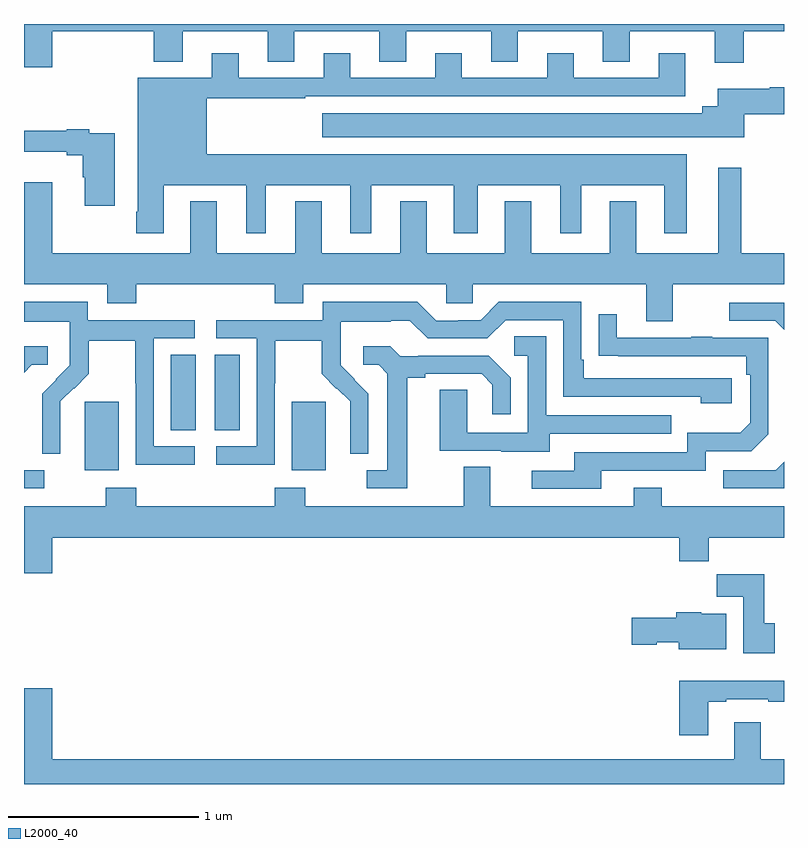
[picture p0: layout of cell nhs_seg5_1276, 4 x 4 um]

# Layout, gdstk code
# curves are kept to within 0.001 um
import gdstk
lib = gdstk.Library(unit=1e-6, precision=1e-09)
def R(c, l, rs):  # rectangles x0, y0, x1, y1
    for r in rs: c.add(gdstk.rectangle(r[:2], r[2:], *l))
def P(c, l, *ps):  # polygons
    for p in ps: c.add(gdstk.Polygon(p, *l))
L2000_40 = (2000, 40)

nhs_seg5_1276 = lib.new_cell('nhs_seg5_1276')
R(nhs_seg5_1276, L2000_40, [(189,854.355,189.106,854.451), (189.32,854.45,189.499,854.811), (190.409,854.45,190.588,854.811), (189.773,854.662,189.904,855.059), (190.004,854.662,190.135,855.059)])
P(nhs_seg5_1276, L2000_40, [(189,856.572),(189.148,856.572),(189.148,856.76),(189.683,856.76),(189.683,856.601),(189.835,856.601),(189.835,856.76),(190.283,856.76),(190.283,856.6),(190.423,856.6),(190.423,856.76),(190.871,856.76),(190.871,856.6),(191.011,856.6),(191.011,856.76),(191.459,856.76),(191.459,856.6),(191.599,856.6),(191.599,856.76),(192.047,856.76),(192.047,856.6),(192.187,856.6),(192.187,856.76),(192.635,856.76),(192.635,856.596),(192.788,856.596),(192.788,856.76),(193,856.76),(193,856.799),(189,856.799)],
  [(189.736,855.95),(190.169,855.95),(190.169,855.699),(190.273,855.699),(190.273,855.95),(190.718,855.95),(190.718,855.699),(190.828,855.699),(190.828,855.95),(191.261,855.95),(191.261,855.699),(191.389,855.699),(191.389,855.95),(191.822,855.95),(191.822,855.699),(191.932,855.699),(191.932,855.95),(192.371,855.95),(192.371,855.699),(192.487,855.699),(192.487,856.114),(189.961,856.114),(189.961,856.407),(190.481,856.407),(190.481,856.419),(192.481,856.419),(192.481,856.645),(192.341,856.645),(192.341,856.515),(191.893,856.515),(191.893,856.645),(191.753,856.645),(191.753,856.515),(191.305,856.515),(191.305,856.645),(191.165,856.645),(191.165,856.515),(190.717,856.515),(190.717,856.645),(190.577,856.645),(190.577,856.515),(190.129,856.515),(190.129,856.645),(189.989,856.645),(189.989,856.516),(189.599,856.516),(189.599,855.811),(189.592,855.811),(189.592,855.699),(189.736,855.699)],
  [(192.79,856.325),(193,856.325),(193,856.467),(192.926,856.467),(192.926,856.459),(192.65,856.459),(192.65,856.366),(192.569,856.366),(192.569,856.33),(190.569,856.33),(190.569,856.202),(192.79,856.202)],
  [(189.478,856.224),(189.344,856.224),(189.344,856.244),(189.224,856.244),(189.224,856.237),(189,856.237),(189,856.127),(189.224,856.127),(189.224,856.108),(189.308,856.108),(189.308,855.993),(189.32,855.993),(189.32,855.843),(189.478,855.843)],
  [(189.875,855.865),(189.875,855.592),(189.148,855.592),(189.148,855.967),(189,855.967),(189,855.428),(189.437,855.428),(189.437,855.329),(189.59,855.329),(189.59,855.428),(190.319,855.428),(190.319,855.329),(190.471,855.329),(190.471,855.428),(191.223,855.428),(191.223,855.33),(191.361,855.33),(191.361,855.428),(192.275,855.428),(192.275,855.234),(192.415,855.234),(192.415,855.428),(193,855.428),(193,855.592),(192.775,855.592),(192.775,856.042),(192.653,856.042),(192.653,855.592),(192.223,855.592),(192.223,855.865),(192.083,855.865),(192.083,855.592),(191.671,855.592),(191.671,855.865),(191.531,855.865),(191.531,855.592),(191.119,855.592),(191.119,855.865),(190.979,855.865),(190.979,855.592),(190.567,855.592),(190.567,855.865),(190.427,855.865),(190.427,855.592),(190.015,855.592),(190.015,855.865)],
  [(190.32,854.908),(190.323,854.908),(190.323,855.132),(190.567,855.132),(190.567,854.957),(190.644,854.88),(190.647,854.883),(190.718,854.813),(190.718,854.69),(190.716,854.69),(190.716,854.536),(190.812,854.536),(190.812,854.854),(190.666,855.002),(190.666,855.099),(190.668,855.099),(190.668,855.233),(190.931,855.233),(190.931,855.237),(191.031,855.237),(191.124,855.144),(191.439,855.144),(191.535,855.24),(191.838,855.24),(191.838,854.838),(192.563,854.838),(192.563,854.804),(192.724,854.804),(192.724,854.934),(191.947,854.934),(191.947,855.031),(191.934,855.031),(191.934,855.336),(191.499,855.336),(191.403,855.24),(191.285,855.24),(191.285,855.237),(191.169,855.237),(191.069,855.337),(190.572,855.337),(190.572,855.24),(190.011,855.24),(190.011,855.144),(190.224,855.144),(190.224,854.577),(190.011,854.577),(190.011,854.479),(190.32,854.479)],
  [(189.898,854.577),(189.684,854.577),(189.684,855.144),(189.898,855.144),(189.898,855.24),(189.336,855.24),(189.336,855.337),(189,855.337),(189,855.233),(189.24,855.233),(189.24,855.099),(189.242,855.099),(189.242,855.002),(189.096,854.854),(189.096,854.536),(189.192,854.536),(189.191,854.813),(189.261,854.883),(189.264,854.88),(189.341,854.957),(189.341,855.132),(189.586,855.132),(189.586,854.908),(189.588,854.908),(189.588,854.479),(189.898,854.479)],
  [(193,855.333),(192.711,855.333),(192.711,855.237),(192.954,855.237),(193,855.191)],
  [(192.037,854.448),(192.588,854.448),(192.588,854.55),(192.828,854.55),(192.918,854.64),(192.918,855.147),(192.623,855.147),(192.623,855.152),(192.511,855.152),(192.511,855.147),(192.121,855.147),(192.121,855.271),(192.025,855.271),(192.025,855.052),(192.802,855.051),(192.802,854.954),(192.822,854.954),(192.822,854.7),(192.769,854.647),(192.492,854.647),(192.492,854.544),(191.897,854.544),(191.897,854.448),(191.673,854.448),(191.673,854.352),(192.037,854.352)],
  [(191.767,854.643),(192.407,854.643),(192.407,854.739),(191.748,854.739),(191.748,855.155),(191.58,855.155),(191.58,855.054),(191.652,855.054),(191.652,854.649),(191.334,854.649),(191.334,854.873),(191.189,854.873),(191.189,854.553),(191.513,854.553),(191.513,854.549),(191.767,854.549)],
  [(189.042,855.006),(189.124,855.006),(189.124,855.103),(189,855.103),(189,854.964)],
  [(191.017,854.936),(191.113,854.936),(191.113,854.958),(191.408,854.958),(191.465,854.901),(191.465,854.745),(191.562,854.745),(191.562,854.938),(191.446,855.054),(191.074,855.054),(191.074,855.051),(190.98,855.051),(190.928,855.103),(190.785,855.103),(190.785,855.006),(190.866,855.006),(190.913,854.959),(190.913,854.451),(190.803,854.451),(190.803,854.355),(191.017,854.355)],
  [(193,854.494),(192.957,854.451),(192.681,854.451),(192.681,854.355),(193,854.355)],
  [(189.148,854.096),(192.449,854.096),(192.449,853.972),(192.605,853.972),(192.605,854.096),(193,854.096),(193,854.26),(192.357,854.26),(192.357,854.359),(192.209,854.359),(192.209,854.26),(191.455,854.26),(191.455,854.468),(191.315,854.468),(191.315,854.26),(190.479,854.26),(190.479,854.359),(190.319,854.359),(190.319,854.26),(189.59,854.26),(189.59,854.359),(189.43,854.359),(189.43,854.26),(189,854.26),(189,853.908),(189.148,853.908)],
  [(192.952,853.644),(192.895,853.644),(192.895,853.903),(192.646,853.903),(192.646,853.784),(192.785,853.784),(192.785,853.488),(192.952,853.488)],
  [(192.697,853.696),(192.564,853.696),(192.564,853.702),(192.434,853.702),(192.434,853.674),(192.198,853.674),(192.198,853.532),(192.33,853.532),(192.33,853.544),(192.446,853.544),(192.446,853.508),(192.697,853.508)],
  [(192.601,853.233),(192.697,853.233),(192.697,853.245),(192.917,853.245),(192.917,853.233),(193,853.233),(193,853.342),(192.449,853.342),(192.449,853.056),(192.601,853.056)],
  [(192.737,853.123),(192.737,852.928),(189.148,852.928),(189.148,853.303),(189,853.303),(189,852.799),(193,852.799),(193,852.928),(192.877,852.928),(192.877,853.123)])

lib.write_gds('nhs_seg5_1276.gds')
